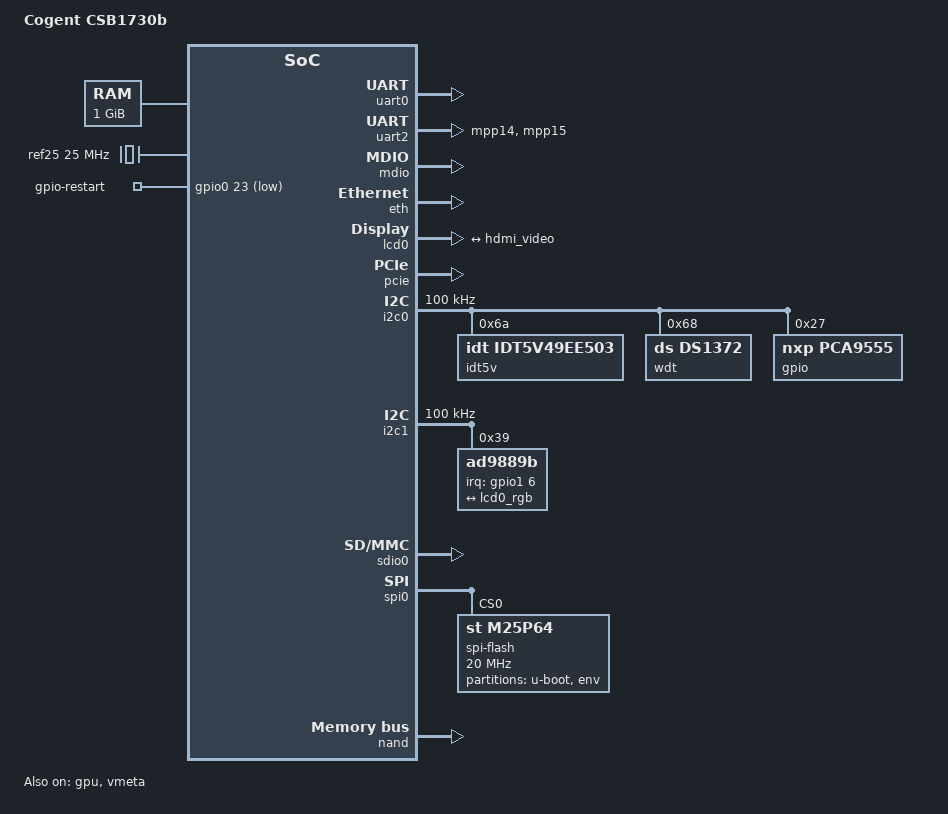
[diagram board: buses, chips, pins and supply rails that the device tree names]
/dts-v1/;

#include "dove.dtsi"

/ {
	model = "Cogent CSB1730b";
	compatible = "cogent,csb1730b", "marvell,dove";

	memory {
		device_type = "memory";
		reg = <0x00000000 0x40000000>;
	};

	chosen {
		bootargs = "console=ttyS0,115200n8 earlyprintk";
	};

	clocks {
		/* 25MHz reference crystal */
		ref25: oscillator {
			compatible = "fixed-clock";
			#clock-cells = <0>;
			clock-frequency = <25000000>;
		};
	};

	reserved-memory {
		#address-cells = <1>;
		#size-cells = <1>;
		ranges;

		lcd0_fb: framebuffer@0 {
			compatible = "marvell,armada-framebuffer";
			no-map;
			size = <0x02000000>;
			alignment = <0x02000000>;
		};
		lcd1_fb: framebuffer@1 {
			compatible = "marvell,armada-framebuffer";
			no-map;
			size = <0x02000000>;
			alignment = <0x02000000>;
		};
	};

	gpio-restart {
		compatible = "gpio-restart";
		gpios = <&gpio0 23 GPIO_ACTIVE_LOW>;
	};
};

&pinctrl {
	pmx_uart2: pmx-uart2 {
		marvell,pins = "mpp14", "mpp15";
		marvell,function = "uart2";
	};
};

&uart0 { status = "okay"; };
&uart2 {
	status = "okay";
	pinctrl-0 = <&pmx_uart2>;
	pinctrl-names = "default";
};

&mdio { status = "okay"; };
&eth { status = "okay"; };
&ethphy {
	compatible = "marvell,88e1310";
	reg = <0>;
};

&gpu {
	status = "okay";
};

&lcd0 {
	status = "okay";
	clocks = <&idt5v 2>;
	clock-names = "ext_ref_clk0";
	framebuffer = <&lcd0_fb>;
	lcd0_port: port {
		lcd0_rgb: endpoint {
			remote-endpoint = <&hdmi_video>;
		};
	};
};

&lcd1 {
	status = "disabled";
	clocks = <&idt5v 3>;
	clock-names = "ext_ref_clk1";
	framebuffer = <&lcd1_fb>;
/*
	lcd1_port: port {
		lcd1_rgb: endpoint {
			remote-endpoint = <&vga_dac_in>;
		};
	};
*/
};

&vmeta {
	status = "okay";
};

&pcie {
	status = "okay";

	/* Atheros mini-pcie */
	pcie@2 {
		status = "okay";
		reset-gpios = <&gpio0 22 1>;
	};
};

&i2c {
	pinctrl-0 = <&pmx_i2c1>;
	pinctrl-names = "default";
};

&i2c0 {
	status = "okay";
	clock-frequency = <100000>;

	idt5v: clock-generator@6a {
		compatible = "idt,idt5v49ee503";
		reg = <0x6a>;
		#address-cells = <1>;
		#size-cells = <0>;
		#clock-cells = <1>;

		/* connect xtal input to 25MHz reference */
		clocks = <&ref25>;
		clock-names = "refclk";

		clkout2 {
			reg = <2>;
			idt,src = "pll1";
		};

		clkout3 {
			reg = <3>;
			idt,src = "pll2";
		};
	};

	wdt: ds1372@68 {
		compatible = "ds,ds1372";
		reg = <0x68>;
	};

	gpio: pca9555@27 {
		compatible = "nxp,pca9555";
		reg = <0x27>;
		gpio-controller;
		#gpio-cells = <2>;
	};
};

&i2c1 {
	status = "okay";
	clock-frequency = <100000>;
	ad9889b: hdmi-encoder@39 {
		compatible = "ad9889b";
		reg = <0x39>;
		interrupts-extended = <&gpio1 6 IRQ_TYPE_LEVEL_LOW>;

		port {
			hdmi_video: endpoint {
				remote-endpoint = <&lcd0_rgb>;
			};
		};
	};
};

&sdio0 {
	status = "okay";
};

&spi0 {
	status = "okay";

	/* spi0.0: Micron SPI nor */
	spi-flash@0 {
		compatible = "st,m25p64", "jedec,spi-nor";
		spi-max-frequency = <20000000>;
		reg = <0>;

		partitions {
			compatible = "fixed-partitions";
			#address-cells = <1>;
			#size-cells = <1>;

			partition@0 {
				label = "u-boot";
				reg = <0x0 0xc0000>;
			};
			partition@c0000 {
				label = "env";
				reg = <0x0 0x10000>;
			};
		};
	};
};

&nand  {
	status = "okay";
	num-cs = <1>;

	partitions {
		compatible = "fixed-partitions";
		#address-cells = <1>;
		#size-cells = <1>;

		partition@0 {
			label = "kernel.0";
			reg = <0x0 0x800000>;
		};
		partition@800000 {
			label = "kernel.1";
			reg = <0x800000 0x800000>;
		};
		partition@1000000 {
			label = "rootfs.0";
			reg = <0x1000000 0x8000000>;
		};
		partition@9000000 {
			label = "rootfs.1";
			reg = <0x9000000 0x8000000>;
		};
		partition@11000000 {
			label = "persist";
			reg = <0x11000000 0x1000000>;
		};
		partition@12000000 {
			label = "app.0";
			reg = <0x12000000 0x4000000>;
		};
		partition@16000000 {
			label = "app.1";
			reg = <0x16000000 0x4000000>;
		};
		partition@1a000000 {
			label = "data";
			reg = <0x1a000000 0x6000000>;
		};
	};
};
